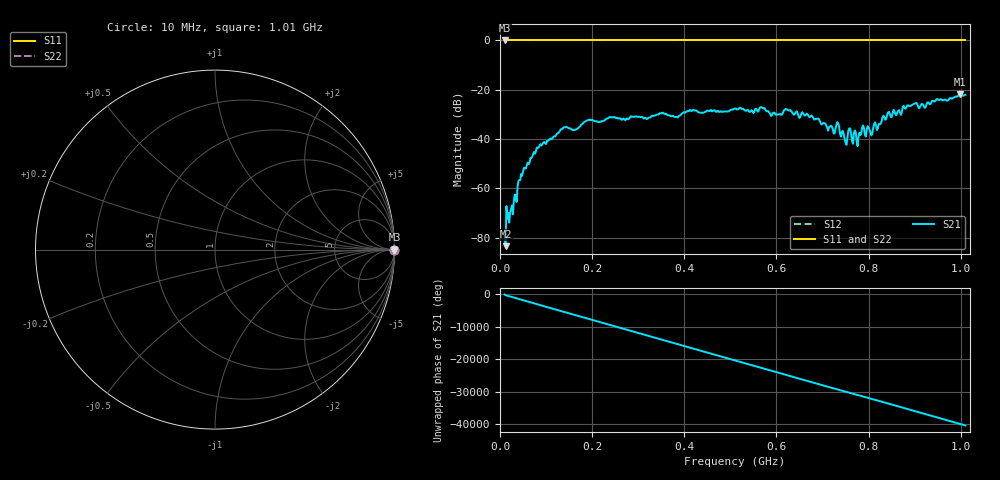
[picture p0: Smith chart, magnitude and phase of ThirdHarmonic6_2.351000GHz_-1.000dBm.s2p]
! 8/17/2025 3:32:44 AM
! C:\ANRITSUVNA\TEMP\TEMP.S2P
! CHANNEL.1
! TR.MEASUREMENT
! RAW.DATA
! RF.CORRECTION.OFF
! AVERAGING.OFF
! IF.BANDWIDTH: 5KHZ
! SWEEPTYPE:  FREQ.SWEEP(Linear)
! Reference Plane Port Info
! PORT:  PORT1  PORT2
! DISTANCE:  0  m  0  m
! TIME:  0  s  0  s
! PHASE.OFFSET:  0  deg.  0  deg.
! LOSS:  0  dB  0  dB
! REF.LOSS:  0  dB  0  dB
! REF.FREQ:  0  Hz  0  Hz
! Power Info
! POWER:  -20  dBm  -20  dBm
! EFF.POWER:  -20  dBm  -20  dBm
! SOURCE.ATTEN:  0  dB  0  dB
! TEST.ATTEN:  0  dB  0  dB
# GHZ S RI R 50.0
! FREQ.GHZ  S11RE  S11IM  S21RE  S21IM  S12RE  S12IM  S22RE  S22IM
!; PortSelection: Port_12
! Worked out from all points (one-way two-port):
!   501 points, 10 MHz to 1.01 GHz, reference 50 ohm
!   highest |S21| = -21.82 dB at 998 MHz (marker M1); lowest = -83.4 dB at 12 MHz (marker M2)
!   lowest |S11| = 0.0 dB at 10 MHz (marker M3)
!   |S11| at or under -10 dB: nowhere
!   |S22| runs from 0.0 to 0.0 dB; largest |S21 - S12| = 1.1
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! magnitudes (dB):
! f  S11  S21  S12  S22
! 10 MHz  0.0  -77.6  0.0  0.0
! 12 MHz  0.0  -83.4  0.0  0.0
! 50 MHz  0.0  -53.1  0.0  0.0
! 84 MHz  0.0  -43.3  0.0  0.0
! 136 MHz  0.0  -35.8  0.0  0.0
! 178 MHz  0.0  -33.9  0.0  0.0
! 344 MHz  0.0  -30.0  0.0  0.0
! 510 MHz  0.0  -27.6  0.0  0.0
! 570 MHz  0.0  -27.3  0.0  0.0
! 602 MHz  0.0  -30.0  0.0  0.0
! 622 MHz  0.0  -27.9  0.0  0.0
! 678 MHz  0.0  -30.8  0.0  0.0
! 724 MHz  0.0  -37.6  0.0  0.0
! 732 MHz  0.0  -33.1  0.0  0.0
! 750 MHz  0.0  -41.3  0.0  0.0
! 758 MHz  0.0  -35.6  0.0  0.0
! 778 MHz  0.0  -39.1  0.0  0.0
! 786 MHz  0.0  -35.3  0.0  0.0
! 806 MHz  0.0  -38.5  0.0  0.0
! 844 MHz  0.0  -28.9  0.0  0.0
! 998 MHz  0.0  -21.8  0.0  0.0
! 1.01 GHz  0.0  -22.0  0.0  0.0
